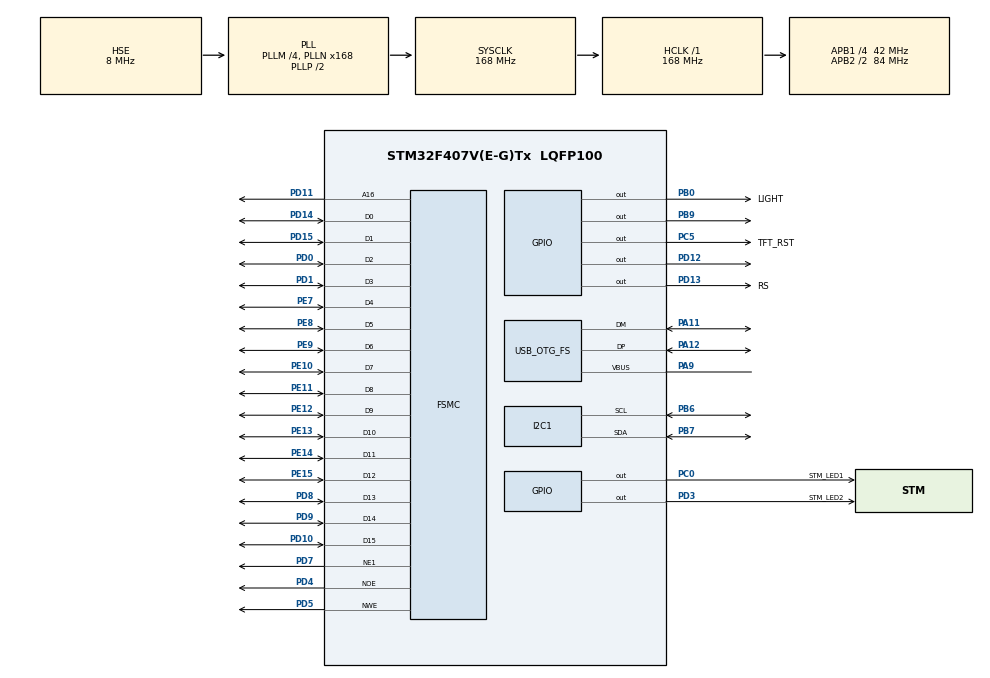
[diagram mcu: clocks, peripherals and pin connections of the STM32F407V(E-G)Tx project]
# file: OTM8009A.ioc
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FATFS._FS_TINY=0
FATFS._MAX_SS=4096
FATFS._MIN_SS=512
FATFS._MULTI_PARTITION=1
FSMC.AddressSetupTime1=10
FSMC.DataSetupTime1=15
FSMC.ExtendedMode1=FSMC_EXTENDED_MODE_DISABLE
Mcu.Family=STM32F4
Mcu.Name=STM32F407V(E-G)Tx
Mcu.Package=LQFP100
NVIC.OTG_FS_IRQn=true\:0\:0\:false\:false\:true\:true\:true
NVIC.PriorityGroup=NVIC_PRIORITYGROUP_4
PA11.Mode=Device_Only
PA11.Signal=USB_OTG_FS_DM
PA12.Mode=Device_Only
PA12.Signal=USB_OTG_FS_DP
PA9.Mode=Activate_VBUS
PA9.Signal=USB_OTG_FS_VBUS
PB0.GPIO_Label=LIGHT
PB0.Signal=GPIO_Output
PB6.Mode=I2C
PB6.Signal=I2C1_SCL
PB7.Mode=I2C
PB7.Signal=I2C1_SDA
PB9.Signal=GPIO_Output
PC0.GPIO_Label=STM_LED1
PC0.Signal=GPIO_Output
PC5.GPIO_Label=TFT_RST
PC5.Signal=GPIO_Output
PD0.Mode=16b-d1
PD0.Signal=FSMC_D2
PD1.Mode=16b-d1
PD1.Signal=FSMC_D3
PD10.Mode=16b-d1
PD10.Signal=FSMC_D15
PD11.Mode=A16_1
PD11.Signal=FSMC_A16
PD12.Signal=GPIO_Output
PD13.GPIO_Label=RS
PD13.Signal=GPIO_Output
PD14.Mode=16b-d1
PD14.Signal=FSMC_D0
PD15.Mode=16b-d1
PD15.Signal=FSMC_D1
PD3.GPIO_Label=STM_LED2
PD3.Signal=GPIO_Output
PD4.Mode=Lcd1
PD4.Signal=FSMC_NOE
PD5.Mode=Lcd1
PD5.Signal=FSMC_NWE
PD7.Mode=NorPsramChipSelect1_1
PD7.Signal=FSMC_NE1
PD8.Mode=16b-d1
PD8.Signal=FSMC_D13
PD9.Mode=16b-d1
PD9.Signal=FSMC_D14
PE10.Mode=16b-d1
PE10.Signal=FSMC_D7
PE11.Mode=16b-d1
PE11.Signal=FSMC_D8
PE12.Mode=16b-d1
PE12.Signal=FSMC_D9
PE13.Mode=16b-d1
PE13.Signal=FSMC_D10
PE14.Mode=16b-d1
PE14.Signal=FSMC_D11
PE15.Mode=16b-d1
PE15.Signal=FSMC_D12
PE7.Mode=16b-d1
PE7.Signal=FSMC_D4
PE8.Mode=16b-d1
PE8.Signal=FSMC_D5
PE9.Mode=16b-d1
PE9.Signal=FSMC_D6
PH0-OSC_IN.Mode=HSE-External-Oscillator
PH0-OSC_IN.Signal=RCC_OSC_IN
PH1-OSC_OUT.Mode=HSE-External-Oscillator
PH1-OSC_OUT.Signal=RCC_OSC_OUT
ProjectManager.HeapSize=0x200
ProjectManager.StackSize=0x400
ProjectManager.TargetToolchain=Makefile
RCC.48MHZClocksFreq_Value=48000000
RCC.AHBFreq_Value=168000000
RCC.APB1CLKDivider=RCC_HCLK_DIV4
RCC.APB1Freq_Value=42000000
RCC.APB1TimFreq_Value=84000000
RCC.APB2CLKDivider=RCC_HCLK_DIV2
RCC.APB2Freq_Value=84000000
RCC.APB2TimFreq_Value=168000000
RCC.CortexFreq_Value=168000000
RCC.HCLKFreq_Value=168000000
RCC.HSE_VALUE=8000000
RCC.HSI_VALUE=16000000
RCC.LSE_VALUE=32768
RCC.PLLM=4
RCC.PLLN=168
RCC.PLLQ=7
RCC.SYSCLKFreq_VALUE=168000000
RCC.SYSCLKSource=RCC_SYSCLKSOURCE_PLLCLK
RCC.VCOOutputFreq_Value=336000000
USB_OTG_FS.VirtualMode=Device_Only
VP_FATFS_VS_Generic.Mode=User_defined
VP_RNG_VS_RNG.Mode=RNG_Activate
board=OTM8009A

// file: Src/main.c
/* USER CODE BEGIN Header */
/**
  ******************************************************************************
  * @file           : main.c
  * @brief          : Main program body
  ******************************************************************************
  * @attention
  *
  * <h2><center>&copy; Copyright (c) 2020 STMicroelectronics.
  * All rights reserved.</center></h2>
  *
  * This software component is licensed by ST under Ultimate Liberty license
  * SLA0044, the "License"; You may not use this file except in compliance with
  * the License. You may obtain a copy of the License at:
  *                             www.st.com/SLA0044
  *
  ******************************************************************************
  */
/* USER CODE END Header */

#include "main.h"
#include "fatfs.h"
#include "i2c.h"
#include "rng.h"
#include "usb_otg.h"
#include "gpio.h"
#include "fsmc.h"

/* USER CODE BEGIN Includes */
#include <math.h>
#include "stdint.h"
#include "OTM8009A.h"

#define M_PI 3.14159
/* USER CODE END Includes */

/* USER CODE BEGIN PV */
/* Private variables ---------------------------------------------------------*/
extern uint16_t BACK_COLOR,POINT_COLOR;
extern uint16_t tft_W;
extern uint16_t tft_H;

FATFS USBDISKFatFs;
FIL MyFile;

/* USER CODE END PV */

void SystemClock_Config(void);
/* USER CODE BEGIN PFP */
/* Private function prototypes -----------------------------------------------*/
/* USER CODE END PFP */

/* USER CODE BEGIN 0 */
//------------------------------------
__STATIC_INLINE void DelayMicro(uint32_t __IO micros)
{
  micros *=(SystemCoreClock/1000000)/5;
  while(micros--);
}

//------------------------------------

/* USER CODE END 0 */

int main(void)
{

  /* MCU Configuration--------------------------------------------------------*/

  /* Reset of all peripherals, Initializes the Flash interface and the Systick. */
  HAL_Init();

  /* Configure the system clock */
  SystemClock_Config();

  /* Initialize all configured peripherals */
  MX_GPIO_Init();
  MX_FSMC_Init();
  MX_I2C1_Init();
  MX_RNG_Init();
  MX_USB_OTG_FS_PCD_Init();
  MX_FATFS_Init();
  /* USER CODE BEGIN 2 */
  //LCD_ini();
  //LCD_Clear();

  HAL_GPIO_WritePin(STM_LED1_GPIO_Port, STM_LED1_Pin, GPIO_PIN_RESET); // LED1
  HAL_GPIO_WritePin(STM_LED2_GPIO_Port, STM_LED2_Pin, GPIO_PIN_RESET); // LED2
  HAL_GPIO_WritePin(LIGHT_GPIO_Port, LIGHT_Pin, GPIO_PIN_SET); // LIGHT

  tft_ini();
  tft_SetRotation(0);
  tft_clear(RED);
  // HAL_Delay(1000);
  tft_FillRect(YELLOW,  100,  100,  200,  200);
  HAL_Delay(1000);
  tft_clear(CYAN);
  // HAL_Delay(1000);
  tft_clear(BLUE);
  // HAL_Delay(1000);
  tft_FillScreen(BLACK);

  /* USER CODE END 2 */

  /* Infinite loop */
  /* USER CODE BEGIN WHILE */

  BACK_COLOR=BLACK;
  POINT_COLOR=BLUE;
  tft_putchar26x48(90,20,'A',TFT_STRING_MODE_BACKGROUND);
  BACK_COLOR=BLACK;
  POINT_COLOR=YELLOW;

  tft_SetRotation(1);
  // create grid
  for(uint16_t i = 5; i<tft_H-5; i+=30)  { tft_DrawLine(COLOR_GRAY, 5, i, tft_W-5, i); }
  for(uint16_t i = 5; i<tft_W-5; i+=30)  { tft_DrawLine(COLOR_GRAY, i, 5, i, tft_H-5); }

  tft_putchar26x48(160,20,'B',TFT_STRING_MODE_BACKGROUND);
  tft_puts26x48(200,10,(int8_t*)"STM32F407",TFT_STRING_MODE_NO_BACKGROUND);
  tft_puts14x24(150,10,(int8_t*)"STM32F407",TFT_STRING_MODE_NO_BACKGROUND);
  tft_puts18x32(100,10,(int8_t*)"STM32F407",TFT_STRING_MODE_NO_BACKGROUND);
  HAL_Delay(1000);

  while (1)
  {
    // create grid
    for(uint16_t i = 5; i<tft_H-5; i+=30)  { tft_DrawLine(COLOR_GRAY, 5, i, tft_W-5, i); }
    for(uint16_t i = 5; i<tft_W-5; i+=30)  { tft_DrawLine(COLOR_GRAY, i, 5, i, tft_H-5); }

    for(float i = 0; i < tft_W; i+=0.1) // count point
    {
      tft_DrawPixel(i, 80*sin(30*0.2*M_PI*i/180)+120,  COLOR_GREEN);
    }

    for(uint16_t i = 0; i < tft_W; i++)
    {
      tft_DrawPixel(i, 95*sin(5*0.2*M_PI*i/180)+120,  COLOR_YELLOW);
    }
    HAL_Delay(3000);

    for(uint32_t i=0;i<1000;i++)
    {
      tft_DrawPixel(HAL_RNG_GetRandomNumber(&hrng)%tft_W, HAL_RNG_GetRandomNumber(&hrng)%tft_H, tft_RandColor());
    }

    tft_FillScreen(BLACK);

    for(uint32_t i=0;i<tft_W;i++)
    {
      tft_DrawLine(tft_RandColor(),i,0,i,tft_H-1);
    }

    tft_FillScreen(BLACK);

    for(uint32_t i=0;i<1000;i++)
    {
      tft_DrawLine(tft_RandColor(),
      HAL_RNG_GetRandomNumber(&hrng)%tft_W,
      HAL_RNG_GetRandomNumber(&hrng)%tft_H,
      HAL_RNG_GetRandomNumber(&hrng)%tft_W,
      HAL_RNG_GetRandomNumber(&hrng)%tft_H);
    }

    tft_FillScreen(BLACK);

    // create grid
    for(uint16_t i = 5; i<tft_H-5; i+=30)  { tft_DrawLine(COLOR_GRAY, 5, i, tft_W-5, i); }
    for(uint16_t i = 5; i<tft_W-5; i+=30)  { tft_DrawLine(COLOR_GRAY, i, 5, i, tft_H-5); }

    for(uint16_t i = 5; i<tft_H-5; i+=30)
    {
      tft_DrawCircle(300, tft_H/2, i/4, COLOR_GRAY);
    }

    for(uint16_t i = 5; i<tft_W-5; i+=30)
    {
      tft_DrawCircle(300, tft_W/2, i/5, COLOR_YELLOW);
    }

    for(uint32_t i=0;i<tft_W/2;i++)
    {
      tft_DrawRect(tft_RandColor(), i, i, tft_W-i-1, tft_H-i-1);
    }

    tft_FillScreen(BLACK);
    // HAL_Delay(250);

    for(uint32_t i=0;i<1000;i++)
    {
      tft_DrawCircle(HAL_RNG_GetRandomNumber(&hrng)%(tft_W-40)+20,
      HAL_RNG_GetRandomNumber(&hrng)%(tft_H-40)+20,
      20,tft_RandColor());
      // HAL_Delay(3);
    }

    tft_FillScreen(BLACK);

    /* USER CODE END WHILE */

  }
}

void SystemClock_Config(void)
{
  RCC_OscInitTypeDef RCC_OscInitStruct = {0};
  RCC_ClkInitTypeDef RCC_ClkInitStruct = {0};

  /** Configure the main internal regulator output voltage
  */
  __HAL_RCC_PWR_CLK_ENABLE();
  __HAL_PWR_VOLTAGESCALING_CONFIG(PWR_REGULATOR_VOLTAGE_SCALE1);
  /** Initializes the CPU, AHB and APB busses clocks
  */
  RCC_OscInitStruct.OscillatorType = RCC_OSCILLATORTYPE_HSE;
  RCC_OscInitStruct.HSEState = RCC_HSE_ON;
  RCC_OscInitStruct.PLL.PLLState = RCC_PLL_ON;
  RCC_OscInitStruct.PLL.PLLSource = RCC_PLLSOURCE_HSE;
  RCC_OscInitStruct.PLL.PLLM = 4;
  RCC_OscInitStruct.PLL.PLLN = 168;
  RCC_OscInitStruct.PLL.PLLP = RCC_PLLP_DIV2;
  RCC_OscInitStruct.PLL.PLLQ = 7;
  if (HAL_RCC_OscConfig(&RCC_OscInitStruct) != HAL_OK)
  {
    Error_Handler();
  }
  /** Initializes the CPU, AHB and APB busses clocks
  */
  RCC_ClkInitStruct.ClockType = RCC_CLOCKTYPE_HCLK|RCC_CLOCKTYPE_SYSCLK
                              |RCC_CLOCKTYPE_PCLK1|RCC_CLOCKTYPE_PCLK2;
  RCC_ClkInitStruct.SYSCLKSource = RCC_SYSCLKSOURCE_PLLCLK;
  RCC_ClkInitStruct.AHBCLKDivider = RCC_SYSCLK_DIV1;
  RCC_ClkInitStruct.APB1CLKDivider = RCC_HCLK_DIV4;
  RCC_ClkInitStruct.APB2CLKDivider = RCC_HCLK_DIV2;

  if (HAL_RCC_ClockConfig(&RCC_ClkInitStruct, FLASH_LATENCY_5) != HAL_OK)
  {
    Error_Handler();
  }
}

void Error_Handler(void)
{
  while(1)
  {
  }
}

/************************ (C) COPYRIGHT STMicroelectronics *****END OF FILE****/
